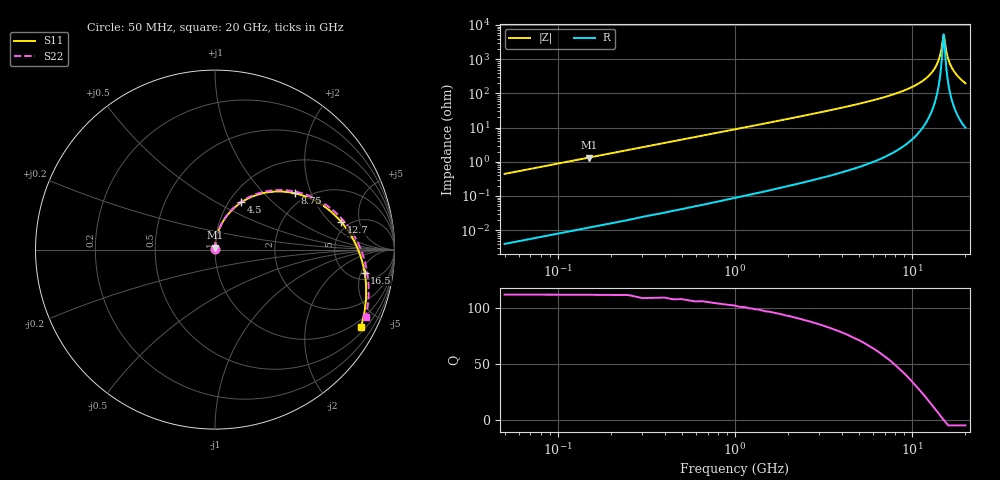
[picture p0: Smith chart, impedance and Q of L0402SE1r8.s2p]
!	AVX Thin Film Operation
!	Date:		5 January 2004
!	Description: 	Accu-L®  L0402 Series Thin Film RF Inductors
!	Part Number:	L04021R8AHNTR
!	50 MHz-20GHz Serial Measurements
#	mhz	S	db	R	50
!	S11	S11	S21	S21	S12	S12	S22	S22
!	dB	Phase	dB	Phase	dB	Phase	dB	Phase
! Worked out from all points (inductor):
!   400 points, 50 MHz to 20 GHz, reference 50 ohm
!   read as 1/Y11, port 2 shorted: L = 1.41 nH near 150 MHz
!   highest Q = 111 at 150 MHz (marker M1), where L = 1.41 nH
!   self-resonance near 15.05 GHz
!   S11 on the Smith chart (normalised r, x): 50 MHz: 1.00, +0.01; 4.5 GHz: 1.14, +0.66; 8.75 GHz: 1.74, +1.55; 12.7 GHz: 4.33, +2.77; 16.5 GHz: 6.54, -5.81; 20 GHz: 0.70, -3.90
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50  -49.27 89.0  -0.00 -0.3  -0.00 -0.3  -49.27 89.0
100  -43.25 88.7  -0.00 -0.6  -0.00 -0.6  -43.25 88.7
150  -39.73 88.4  -0.00 -0.9  -0.00 -0.9  -39.73 88.4
250  -35.29 87.7  -0.00 -1.6  -0.00 -1.6  -35.29 87.8
350  -32.37 87.1  -0.01 -2.2  -0.01 -2.2  -32.37 87.2
450  -30.19 86.5  -0.01 -2.8  -0.01 -2.8  -30.19 86.5
700  -26.35 84.9  -0.02 -4.4  -0.02 -4.4  -26.35 85.0
1050  -22.83 82.6  -0.03 -6.5  -0.03 -6.5  -22.83 82.8
1450  -20.04 80.1  -0.05 -9.0  -0.05 -9.0  -20.04 80.3
2000  -17.27 76.6  -0.10 -12.5  -0.10 -12.5  -17.27 76.9
2650  -14.86 72.5  -0.17 -16.5  -0.17 -16.5  -14.86 72.9
3400  -12.75 67.7  -0.27 -21.1  -0.27 -21.1  -12.75 68.3
4500  -10.42 60.9  -0.46 -27.8  -0.46 -27.8  -10.42 61.6
6700  -7.24 47.3  -0.98 -41.1  -0.98 -41.1  -7.24 48.5
8750  -5.26 35.0  -1.65 -53.0  -1.65 -53.0  -5.26 36.6
10050  -4.31 27.4  -2.16 -60.4  -2.16 -60.4  -4.31 29.2
12700  -2.84 12.3  -3.44 -75.0  -3.44 -75.0  -2.84 14.5
13350  -2.56 8.6  -3.80 -78.5  -3.80 -78.5  -2.56 11.0
16500  -1.48 -8.7  -5.98 -94.9  -5.98 -94.9  -1.48 -5.8
16700  -1.42 -9.8  -6.14 -95.9  -6.14 -95.9  -1.42 -6.8
18350  -1.03 -18.9  -7.69 -104.0  -7.69 -104.0  -1.03 -15.5
20000  -0.73 -27.9  -9.69 -111.7  -9.69 -111.7  -0.72 -24.2
